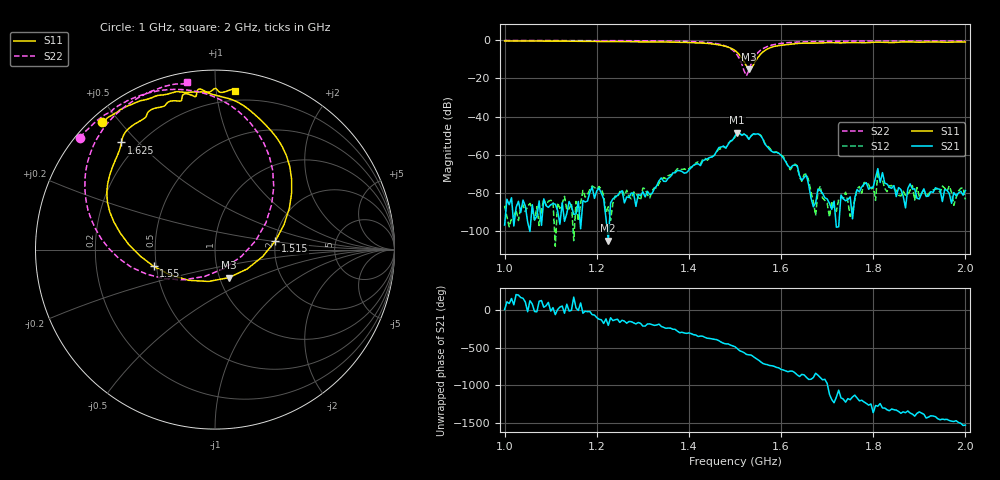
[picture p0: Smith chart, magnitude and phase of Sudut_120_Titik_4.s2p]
# Hz S RI R 50
! CMT, C1220, 16058040, 17.2.0/1
! Date: 14/08/2018 12:30:22
! Data: Format (Calibration Info)
! Freq  S11: Re/Im (F2)  S21: Re/Im (F2)  S12: Re/Im (F2)  S22: Re/Im (F2)
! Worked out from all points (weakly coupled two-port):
!   201 points, 1 GHz to 2 GHz, reference 50 ohm
!   highest |S21| = -48.46 dB at 1.505 GHz (marker M1); lowest = -104.9 dB at 1.225 GHz (marker M2)
!   lowest |S11| = -15.2 dB at 1.53 GHz (marker M3), VSWR 1.42, Z = 55.2 - j17.8 ohm
!   |S11| at or under -10 dB: 1.516 GHz to 1.547 GHz (30.77 MHz wide, 2.01 % of centre)
!   |S22| runs from -18.6 to -0.2 dB; largest |S21 - S12| = 0.00024
!   S11 on the Smith chart (normalised r, x): 1 GHz: 0.03, +0.45; 1.515 GHz: 1.99, +0.21; 1.55 GHz: 0.48, -0.10; 1.625 GHz: 0.14, +0.45; 2 GHz: 0.13, +1.12
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1e9  -0.6277 0.7087  1.45e-05 1.44e-06  -9.21e-06 4.57e-05  -0.7531 0.6241
1.17e9  -0.4516 0.8146  4.73e-05 -4.27e-05  8.93e-05 -7.6e-05  -0.6169 0.7494
1.225e9  -0.3772 0.8377  -5.2e-06 2.27e-06  -4.4e-05 -2.47e-06  -0.5669 0.7818
1.32e9  -0.2075 0.8802  -9.48e-05 2.19e-05  -9.61e-05 6.1e-05  -0.4304 0.8538
1.335e9  -0.187 0.8776  -0.000206 2.77e-05  -0.000149 0.000101  -0.4016 0.8635
1.45e9  0.2004 0.7708  0.000809 -0.000347  0.000785 -0.000412  0.0208 0.8397
1.5e9  0.4271 0.3174  -0.00187 -0.00247  -0.00183 -0.00231  0.3274 0.3498
1.505e9  0.4146 0.2308  -0.00333 -0.00178  -0.00311 -0.00181  0.3158 0.2524
1.515e9  0.3355 0.0468  -0.00316 0.000668  -0.00326 0.000618  0.2275 0.0506
1.53e9  0.0757 -0.1565  -0.00145 0.00209  -0.00146 0.00211  -0.057 -0.1493
1.55e9  -0.3425 -0.0929  0.00179 0.00306  0.00165 0.00312  -0.4654 -0.0987
1.625e9  -0.5213 0.5971  -2.79e-05 -0.000524  -1.99e-05 -0.000507  -0.6994 0.5217
1.645e9  -0.4838 0.6718  -0.00015 -0.000152  -0.000164 -0.000121  -0.6676 0.6001
1.655e9  -0.4468 0.6998  -0.000292 -3e-05  -0.000314 -5.19e-05  -0.6501 0.6306
1.67e9  -0.3971 0.7286  -4.39e-05 -2.66e-06  -6.06e-05 3.6e-06  -0.6246 0.6709
1.785e9  -0.1865 0.8316  -0.000175 -6.35e-05  -0.000181 -5.49e-05  -0.447 0.8343
1.805e9  -0.1766 0.8639  -0.000252 3.45e-05  -4.62e-05 -4.5e-05  -0.4189 0.8513
1.81e9  -0.169 0.868  -0.000416 0.000129  -0.000344 2.12e-05  -0.4122 0.8549
1.815e9  -0.1588 0.8684  -0.000181 -5.56e-05  -0.000208 2.39e-05  -0.4052 0.8586
1.82e9  -0.1469 0.866  -0.000257 0.000227  -0.000177 0.000122  -0.3984 0.8618
1.835e9  -0.1135 0.8529  -2.94e-05 0.000139  -0.000101 0.000117  -0.3783 0.872
2e9  0.1111 0.8845  1.88e-06 -0.000117  -3.19e-05 -6e-05  -0.1547 0.9315
